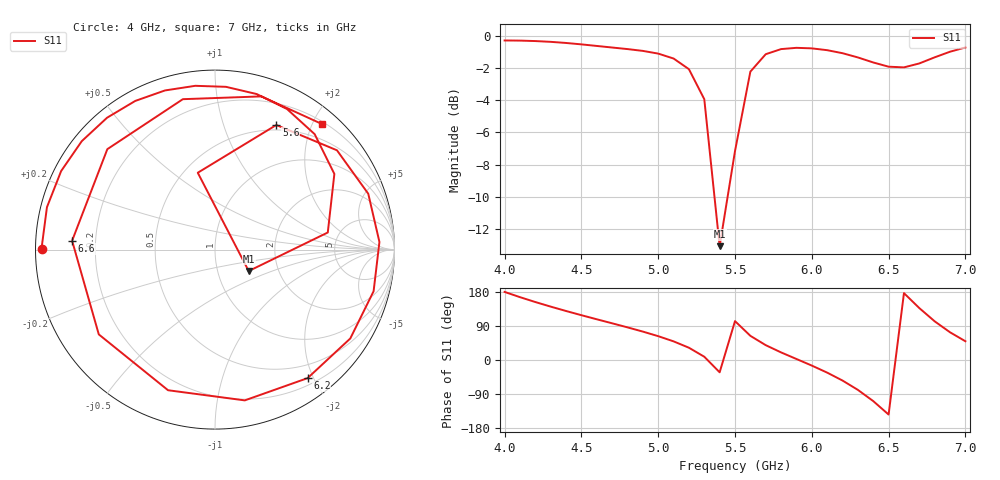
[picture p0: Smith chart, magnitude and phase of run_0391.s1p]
! Touchstone file exported from HFSS 2024.2.0
!  File:  C:/Users/wsak9/Desktop/Sim Fast/Widenad Patch/WP_AI_V1_sweep.aedt
!  Generated:  07:46:36 AM Oct 14, 2026
!  Design:  A1_model
!  Project:  WP_AI_V1_sweep
!  Setup:  Setup1
!  Solution:  Sweep
! Variables:
!  Air_gap = 3.78mm
!  Curve_Amp1 = 1.89
!  Curve_len1 = 1
!  Curve_pos = 11.015mm
!  Extra = 6.06mm
!  H_sub = 0.79mm
!  L_Patch = 18.03mm
!  L_Patch1 = 19.23mm
!  Sx = 4.83mm
!  Sy = 3.2mm
!  WS = 0.36mm
!  W_Patch = 12.27mm
!  W_Patch1 = 13.17mm
!Data is not renormalized
# GHz S MA
! Terminal data exported
! Port[1] = 1
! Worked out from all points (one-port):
!   31 points, 4 GHz to 7 GHz, reference per port
!   lowest |S11| = -13.1 dB at 5.4 GHz (marker M1), VSWR 1.57
!   |S11| at or under -10 dB: 5.367 GHz to 5.452 GHz (85.22 MHz wide, 1.58 % of centre)
!   S11 on the Smith chart (normalised r, x): 4 GHz: 0.02, +0.00; 5.6 GHz: 0.44, +1.52; 6.2 GHz: 0.30, -1.92; 6.6 GHz: 0.11, +0.03; 7 GHz: 0.24, +2.15
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4  0.9666 179.7
4.1  0.9656 165.8
4.2  0.9625 153.0
4.4  0.9495 129.3
4.6  0.9295 107.5
4.8  0.9089 86.1
4.9  0.8972 75.0
5  0.88 62.9
5.1  0.8497 49.2
5.2  0.7874 32.4
5.3  0.6356 8.6
5.4  0.2226 -32.5
5.5  0.4388 102.6
5.6  0.7737 63.8
5.7  0.8763 39.2
5.8  0.9088 20.0
5.9  0.9171 2.7
6  0.9136 -14.7
6.1  0.9018 -33.3
6.2  0.8826 -54.2
6.3  0.8563 -78.8
6.4  0.8261 -108.5
6.5  0.8015 -143.9
6.6  0.7977 176.5
6.7  0.8203 137.0
6.8  0.857 102.1
6.9  0.892 73.1
7  0.9193 49.5
